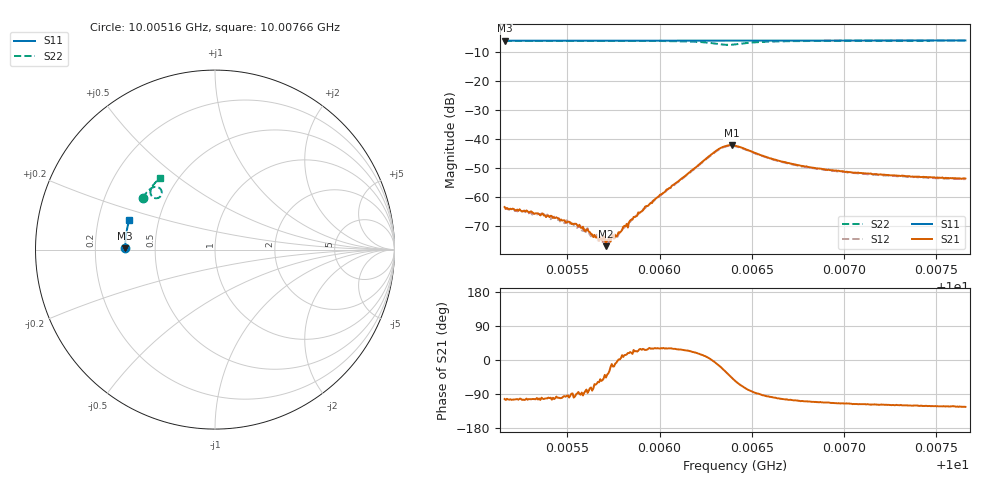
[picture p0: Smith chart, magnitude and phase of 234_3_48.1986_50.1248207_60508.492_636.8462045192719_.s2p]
#  HZ  S  RI  R  50.00
! Rohde & Schwarz Vector Network Analyzer
! Rohde-Schwarz,ZNB20-2Port,1311601062101988,3.16
! Created: UTC 3/20/2024, 11:46:35 AM
! freq[Hz]  re:S11  im:S11  re:S21  im:S21  re:S12  im:S12  re:S22  im:S22
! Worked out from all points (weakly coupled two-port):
!   401 points, 10.00516 GHz to 10.00766 GHz, reference 50 ohm
!   highest |S21| = -42.05 dB at 10.00639 GHz (marker M1); lowest = -76.8 dB at 10.00571 GHz (marker M2)
!   lowest |S11| = -6.0 dB at 10.00516 GHz (marker M3), VSWR 3.00, Z = 16.7 + j0.357 ohm
!   |S11| at or under -10 dB: nowhere
!   |S22| runs from -7.4 to -6.0 dB; largest |S21 - S12| = 0.00046
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1.0005159e10  -0.4999 0.00802  -0.000153 -0.000665  -0.000147 -0.000633  -0.4033 0.2874
1.0005384e10  -0.4999 0.0226  -8.98e-05 -0.000449  -9.32e-05 -0.000471  -0.3943 0.3007
1.0005441e10  -0.4999 0.0262  -5.18e-05 -0.000451  -2.6e-05 -0.000418  -0.3921 0.3041
1.0005578e10  -0.4996 0.0352  2.15e-05 -0.000298  4.85e-05 -0.000267  -0.3856 0.3125
1.0005659e10  -0.4994 0.0405  9.58e-05 -0.000182  0.000102 -0.000204  -0.3816 0.3174
1.0005678e10  -0.4992 0.0417  0.000131 -0.000161  0.000119 -0.000165  -0.3807 0.3185
1.0005709e10  -0.4992 0.0437  0.0001 -0.000104  0.000137 -0.000101  -0.379 0.3205
1.0005722e10  -0.4992 0.0446  0.000155 -0.00011  0.000148 -9.38e-05  -0.3783 0.3214
1.0005747e10  -0.4991 0.0461  0.000216 -6.76e-05  0.000204 -4.68e-05  -0.377 0.3229
1.0005766e10  -0.4991 0.0474  0.000211 -2.69e-05  0.000225 -2.16e-05  -0.376 0.3241
1.0005784e10  -0.4989 0.0486  0.000248 6.17e-06  0.000251 1.79e-05  -0.3748 0.3253
1.0005809e10  -0.4988 0.0503  0.000315 7.27e-05  0.000291 7.75e-05  -0.3731 0.3269
1.0005847e10  -0.4987 0.0527  0.000392 0.000135  0.000372 0.000161  -0.3706 0.3294
1.0005997e10  -0.4978 0.0624  0.000911 0.000534  0.000844 0.000595  -0.3589 0.3394
1.000631e10  -0.4948 0.0825  0.00634 -0.00107  0.00626 -0.000695  -0.2979 0.3274
1.0006353e10  -0.4944 0.0849  0.00665 -0.00362  0.00668 -0.00318  -0.2988 0.3041
1.0006391e10  -0.4942 0.087  0.00543 -0.00574  0.0056 -0.00533  -0.3136 0.2889
1.000641e10  -0.4941 0.0883  0.00448 -0.00636  0.00472 -0.00597  -0.3233 0.286
1.0006647e10  -0.4922 0.1035  -0.000821 -0.00418  -0.000624 -0.00417  -0.3589 0.3296
1.0006828e10  -0.49 0.1149  -0.00114 -0.00306  -0.000955 -0.00305  -0.3508 0.3492
1.0007247e10  -0.4841 0.1414  -0.00115 -0.00212  -0.00103 -0.00211  -0.3293 0.3768
1.000766e10  -0.4766 0.167  -0.00117 -0.00176  -0.00105 -0.00178  -0.3082 0.3971
